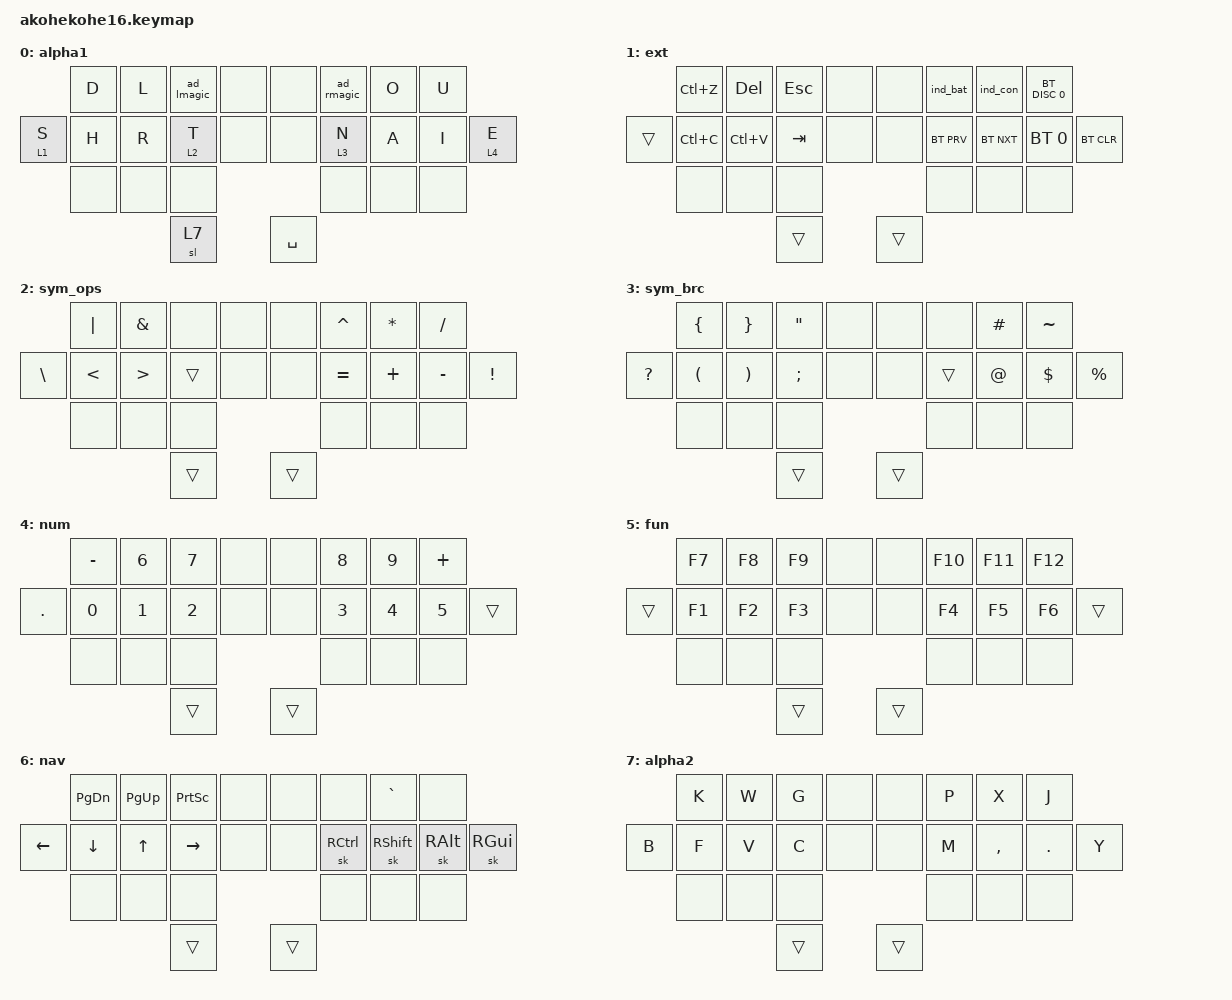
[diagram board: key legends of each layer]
/*
 * Copyright (c) 2024 The ZMK Contributors
 *
 * SPDX-License-Identifier: MIT
 */

#include <behaviors.dtsi>
#include <dt-bindings/zmk/bt.h>
#include <dt-bindings/zmk/keys.h>
#include <dt-bindings/zmk/outputs.h>
#include <behaviors/rgbled_widget.dtsi>

&sl {
    release-after-ms = <350>;
};
&sk {
    release-after-ms = <350>;
    quick-release;
};
&lt {
    tapping-term-ms = <125>;
    quick-tap-ms = <100>;
    require-prior-idle-ms = <100>;
    retro-tap;
    flavor = "balanced";
};
&caps_word {
    continue-list = <UNDER MINUS BSPC DEL>;
};

/ {
    combos {
        compatible = "zmk,combos";
        timeout-ms = <50>;

        combo_qu {
            key-positions = <1 2>;
            bindings = <&macro_qu>;
            layers = <7>;
        };

        combo_q {
            key-positions = <0 2>;
            bindings = <&kp Q>;
            layers = <7>;
        };

        combo_z {
            key-positions = <0 1>;
            bindings = <&kp Z>;
            layers = <7>;
        };

        combo_squote {
            key-positions = <5 6>;
            bindings = <&kp SQT>;
            layers = <7>;
        };

        combo_unds {
            key-positions = <6 7>;
            bindings = <&kp UNDER>;
            layers = <7>;
        };

        combo_lbspc {
            key-positions = <10 11>;
            bindings = <&kp BSPC>;
            layers = <1 6 7>;
        };

        combo_lent {
            key-positions = <9 10>;
            bindings = <&kp ENTER>;
            layers = <1 6 7>;
        };

        combo_lalt {
            key-positions = <0 9>;
            bindings = <&sk LALT>;
        };

        combo_lsft {
            key-positions = <1 10>;
            bindings = <&sk LSHFT>;
        };

        combo_lctl {
            key-positions = <2 11>;
            bindings = <&sk LCTRL>;
        };

        combo_rctl {
            key-positions = <5 14>;
            bindings = <&sk RCTRL>;
        };

        combo_rsft {
            key-positions = <6 15>;
            bindings = <&sk RSHFT>;
        };

        combo_ralt {
            key-positions = <7 16>;
            bindings = <&sk RALT>;
        };

        combo_rent {
            key-positions = <15 16>;
            bindings = <&kp ENTER>;
            layers = <1 6 7>;
        };

        combo_rbspc {
            key-positions = <14 15>;
            bindings = <&kp BSPC>;
            layers = <1 6 7>;
        };

        combo_capsword {
            key-positions = <1 10 6 15>;
            bindings = <&caps_word>;
        };

        combo_boot {
            key-positions = <0 2 5 7>;
            bindings = <&bootloader>;
        };

        combo_nav {
            key-positions = <24 25>;
            bindings = <&sl 6>;
            slow-release;
        };

        combo_fun {
            key-positions = <8 17>;
            bindings = <&sl 5>;
        }
    };

    macros {
        macro_qu: qu {
            compatible = "zmk,behavior-macro";
            #binding-cells = <0>;
            bindings = <&kp Q &kp U>;
        };

        macro_able: able {
            compatible = "zmk,behavior-macro";
            #binding-cells = <0>;
            bindings = <&kp B &kp L &kp E>;
        };

        macro_ion: ion {
            compatible = "zmk,behavior-macro";
            #binding-cells = <0>;
            bindings = <&kp O &kp N>;
        };

        macro_ing: ing {
            compatible = "zmk,behavior-macro";
            #binding-cells = <0>;
            bindings = <&kp N &kp G>;
        };

        macro_you: you {
            compatible = "zmk,behavior-macro";
            #binding-cells = <0>;
            bindings = <&kp O &kp U>;
        };

        macro_would: would {
            compatible = "zmk,behavior-macro";
            #binding-cells = <0>;
            bindings = <&kp O &kp U &kp L &kp D>;
        };

        macro_the: the {
            compatible = "zmk,behavior-macro";
            #binding-cells = <0>;
            bindings = <&kp T &kp H &kp E>;
        };

        macro_for: for {
            compatible = "zmk,behavior-macro";
            #binding-cells = <0>;
            bindings = <&kp F &kp O &kp R>;
        };

        // macro_vim_w: vim_write {
        //     compatible = "zmk,behavior-macro";
        //     #binding-cells = <0>;
        //     bindings = <&kp ESC &kp COLON &kp W &kp ENT>;
        // };
    };

    behaviors {
        ad_lmagic: adaptive_magic_left {
            compatible = "zmk,behavior-antecedent-morph";
            #binding-cells = <0>;
            defaults = <&key_repeat>;
            antecedents = <M E Y I SPACE>;
            bindings = <&kp P>, <&kp Y>, <&kp E>, <&macro_ion>, <&macro_for>;
        };

        ad_rmagic: adaptive_magic_right {
            compatible = "zmk,behavior-antecedent-morph";
            #binding-cells = <0>;
            defaults = <&key_repeat>;
            antecedents = <C A DOT I Y R W SPACE>;
            bindings = <&kp K>, <&macro_able>, <&kp SLASH>, <&macro_ing>, <&macro_you>, <&kp L>, <&macro_would>, <&macro_the>;
        };
        
        slt: slow_lt {
            compatible = "zmk,behavior-hold-tap";
            #binding-cells = <2>;
            flavor = "balanced";
            tapping-term-ms = <160>;
            quick-tap-ms = <115>;
            require-prior-idle-ms = <120>;
            retro-tap;
            bindings = <&mo>, <&kp>;
        };
    };

    keymap {
        compatible = "zmk,keymap";

        alpha1 {
            bindings = <
                    &kp D           &kp L           &ad_lmagic      &none   &none           &ad_rmagic      &kp O           &kp U
        &slt 1 S    &kp H           &kp R           &lt 2 T         &none   &none           &lt 3 N         &kp A           &kp I           &slt 4 E
                    &none           &none           &none                                   &none           &none           &none
                                                            &sl 7                   &kp SPACE
            >;
        };

        ext {
            bindings = <
                    &kp LC(Z)       &kp DEL         &kp ESC         &none   &none           &ind_bat        &ind_con        &bt BT_DISC 0
        &trans      &kp LC(C)       &kp LC(V)       &kp TAB         &none   &none           &bt BT_PRV      &bt BT_NXT      &bt BT_SEL 0    &bt BT_CLR
                    &none           &none           &none                                   &none           &none           &none
                                                            &trans                  &trans
            >;
        };

        sym_ops {
            bindings = <
                    &kp PIPE        &kp AMPS        &none           &none   &none           &kp CARET       &kp ASTRK       &kp SLASH
        &kp BSLH    &kp LT          &kp GT          &trans          &none   &none           &kp EQUAL       &kp PLUS        &kp MINUS       &kp EXCL
                    &none           &none           &none                                   &none           &none           &none
                                                            &trans                  &trans
            >;
        };

        sym_brc {
            bindings = <
                    &kp LBRC        &kp RBRC        &kp DQT         &none   &none           &none           &kp HASH        &kp TILDE
        &kp QMARK   &kp LPAR        &kp RPAR        &kp SEMI        &none   &none           &trans          &kp AT          &kp DLLR        &kp PRCNT
                    &none           &none           &none                                   &none           &none           &none
                                                            &trans                  &trans
            >;
        };

        num {
            bindings = <
                    &kp MINUS       &kp N6          &kp N7          &none   &none           &kp N8          &kp N9          &kp PLUS
        &kp DOT     &kp N0          &kp N1          &kp N2          &none   &none           &kp N3          &kp N4          &kp N5          &trans
                    &none           &none           &none                                   &none           &none           &none
                                                            &trans                  &trans
            >;
        };

        fun {
            bindings = <
                    &kp F7          &kp F8          &kp F9          &none   &none           &kp F10         &kp F11         &kp F12
        &trans      &kp F1          &kp F2          &kp F3          &none   &none           &kp F4          &kp F5          &kp F6          &trans
                    &none           &none           &none                                   &none           &none           &none
                                                            &trans                  &trans
            >;
        };

        nav {
            bindings = <
                    &kp PG_DN       &kp PG_UP       &kp PSCRN       &none   &none           &none           &kp GRAVE       &none
        &kp LEFT    &kp DOWN        &kp UP          &kp RIGHT       &none   &none           &sk RCTRL       &sk RSHFT       &sk RALT        &sk RGUI
                    &none           &none           &none                                   &none           &none           &none
                                                            &trans                  &trans
            >;
        };

        alpha2 {
            bindings = <
                    &kp K           &kp W           &kp G           &none   &none           &kp P           &kp X           &kp J
        &kp B       &kp F           &kp V           &kp C           &none   &none           &kp M           &kp COMMA       &kp DOT         &kp Y
                    &none           &none           &none                                   &none           &none           &none
                                                            &trans                  &trans
            >;
        };
    };
};
